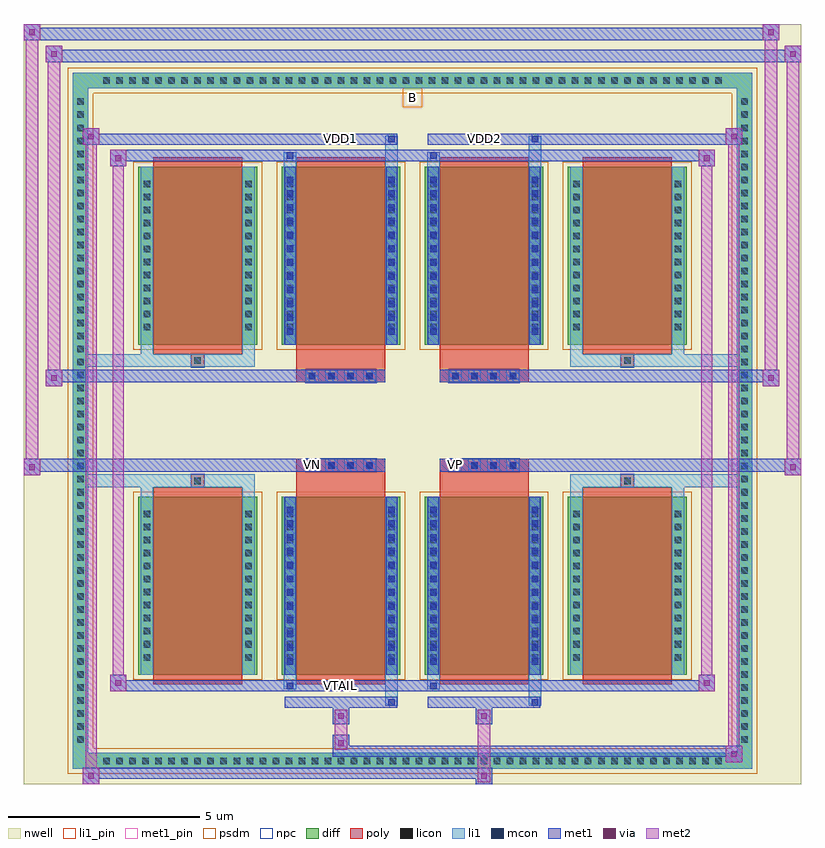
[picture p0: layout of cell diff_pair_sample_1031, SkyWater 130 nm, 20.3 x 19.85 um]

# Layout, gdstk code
import gdstk
lib = gdstk.Library(unit=1e-6, precision=5e-09)
def R(c, l, rs):  # rectangles x0, y0, x1, y1
    for r in rs: c.add(gdstk.rectangle(r[:2], r[2:], *l))
def A(c, l, x, y, w, h, nx, ny, dx, dy):  # array of equal rectangles
    R(c, l, [(x+i*dx, y+j*dy, x+i*dx+w, y+j*dy+h) for i in range(nx) for j in range(ny)])
def P(c, l, *ps):  # polygons
    for p in ps: c.add(gdstk.Polygon(p, *l))
nwell = (64, 20)
diff = (65, 20)
poly = (66, 20)
licon = (66, 44)
li1_pin = (67, 16)
li1 = (67, 20)
mcon = (67, 44)
met1_pin = (68, 16)
met1 = (68, 20)
via = (68, 44)
met2 = (69, 20)
psdm = (94, 20)
npc = (95, 20)

diff_pair_sample_1031 = lib.new_cell('diff_pair_sample_1031')
R(diff_pair_sample_1031, nwell, [(-10.15,-9.49,10.15,10.36), (-7.47,-7.68,-0.01,-0.8), (0.01,-7.68,7.47,-0.8), (-7.47,0.8,-0.01,7.68), (0.01,0.8,7.47,7.68)])
A(diff_pair_sample_1031, diff, -8.195, -9.09, 0.41, 0.41, 48, 2, 0.34, 17.77)
A(diff_pair_sample_1031, diff, -8.88, -8.535, 0.41, 0.41, 1, 50, 0, 0.34)
A(diff_pair_sample_1031, diff, 8.47, -8.535, 0.41, 0.41, 1, 50, 0, 0.34)
A(diff_pair_sample_1031, diff, -7.16, -6.635, 3.1, 4.65, 4, 2, 3.74, 8.62)
R(diff_pair_sample_1031, diff, [(-8.195,-9.09,8.195,-8.68), (-8.88,-8.535,-8.47,8.535), (8.47,-8.535,8.88,8.535), (-8.195,8.68,8.195,9.09)])
P(diff_pair_sample_1031, diff, [(8.88,9.09),(-8.88,9.09),(-8.88,-8.68),(-8.47,-8.68),(-8.47,8.68),(8.47,8.68),(8.47,-8.68),(-8.47,-8.68),(-8.88,-8.68),(-8.88,-9.09),(8.88,-9.09)])
A(diff_pair_sample_1031, poly, -6.77, -6.885, 2.32, 5.15, 4, 2, 3.74, 8.62)
A(diff_pair_sample_1031, poly, -2.785, -1.33, 0.33, 0.33, 4, 2, 0.5, 2.33)
A(diff_pair_sample_1031, poly, 0.955, -1.33, 0.33, 0.33, 4, 2, 0.5, 2.33)
R(diff_pair_sample_1031, poly, [(-5.775,-1.735,-5.445,-1.405), (-5.775,-1.735,-5.445,-1.405), (-3.03,-1.735,-0.71,-1.33), (0.71,-1.735,3.03,-1.33), (5.445,-1.735,5.775,-1.405), (5.445,-1.735,5.775,-1.405), (-3.03,-1.33,-0.71,-1), (0.71,-1.33,3.03,-1), (-3.03,1,-0.71,1.33), (0.71,1,3.03,1.33), (-3.03,1.33,-0.71,1.735), (0.71,1.33,3.03,1.735), (-5.775,1.405,-5.445,1.735), (-5.775,1.405,-5.445,1.735), (5.445,1.405,5.775,1.735), (5.445,1.405,5.775,1.735)])
A(diff_pair_sample_1031, licon, -8.075, -8.97, 0.17, 0.17, 48, 2, 0.34, 17.77)
A(diff_pair_sample_1031, licon, -8.76, -8.415, 0.17, 0.17, 1, 50, 0, 0.34)
A(diff_pair_sample_1031, licon, 8.59, -8.415, 0.17, 0.17, 1, 50, 0, 0.34)
A(diff_pair_sample_1031, licon, -7.02, -6.265, 0.17, 0.17, 1, 12, 0, 0.34)
A(diff_pair_sample_1031, licon, -4.37, -6.265, 0.17, 0.17, 1, 12, 0, 0.34)
A(diff_pair_sample_1031, licon, -3.28, -6.265, 0.17, 0.17, 1, 12, 0, 0.34)
A(diff_pair_sample_1031, licon, -0.63, -6.265, 0.17, 0.17, 1, 12, 0, 0.34)
A(diff_pair_sample_1031, licon, 0.46, -6.265, 0.17, 0.17, 1, 12, 0, 0.34)
A(diff_pair_sample_1031, licon, 3.11, -6.265, 0.17, 0.17, 1, 12, 0, 0.34)
A(diff_pair_sample_1031, licon, 4.2, -6.265, 0.17, 0.17, 1, 12, 0, 0.34)
A(diff_pair_sample_1031, licon, 6.85, -6.265, 0.17, 0.17, 1, 12, 0, 0.34)
A(diff_pair_sample_1031, licon, -2.705, -1.25, 0.17, 0.17, 4, 2, 0.5, 2.33)
A(diff_pair_sample_1031, licon, 1.035, -1.25, 0.17, 0.17, 4, 2, 0.5, 2.33)
A(diff_pair_sample_1031, licon, -7.02, 2.355, 0.17, 0.17, 1, 12, 0, 0.34)
A(diff_pair_sample_1031, licon, -4.37, 2.355, 0.17, 0.17, 1, 12, 0, 0.34)
A(diff_pair_sample_1031, licon, -3.28, 2.355, 0.17, 0.17, 1, 12, 0, 0.34)
A(diff_pair_sample_1031, licon, -0.63, 2.355, 0.17, 0.17, 1, 12, 0, 0.34)
A(diff_pair_sample_1031, licon, 0.46, 2.355, 0.17, 0.17, 1, 12, 0, 0.34)
A(diff_pair_sample_1031, licon, 3.11, 2.355, 0.17, 0.17, 1, 12, 0, 0.34)
A(diff_pair_sample_1031, licon, 4.2, 2.355, 0.17, 0.17, 1, 12, 0, 0.34)
A(diff_pair_sample_1031, licon, 6.85, 2.355, 0.17, 0.17, 1, 12, 0, 0.34)
R(diff_pair_sample_1031, licon, [(-5.695,-1.655,-5.525,-1.485), (5.525,-1.655,5.695,-1.485), (-5.695,1.485,-5.525,1.655), (5.525,1.485,5.695,1.655)])
R(diff_pair_sample_1031, li1_pin, [(-0.25,8.18,0.25,8.68)])
A(diff_pair_sample_1031, li1, -8.155, -9.05, 0.33, 0.33, 48, 2, 0.34, 17.77)
A(diff_pair_sample_1031, li1, -8.84, -8.495, 0.33, 0.33, 1, 50, 0, 0.34)
A(diff_pair_sample_1031, li1, 8.51, -8.495, 0.33, 0.33, 1, 50, 0, 0.34)
A(diff_pair_sample_1031, li1, -3.28, -6.375, 0.17, 0.17, 1, 12, 0, 0.36)
A(diff_pair_sample_1031, li1, -0.63, -6.375, 0.17, 0.17, 1, 12, 0, 0.36)
A(diff_pair_sample_1031, li1, 0.46, -6.375, 0.17, 0.17, 1, 12, 0, 0.36)
A(diff_pair_sample_1031, li1, 3.11, -6.375, 0.17, 0.17, 1, 12, 0, 0.36)
A(diff_pair_sample_1031, li1, -7.1, -6.345, 0.33, 0.33, 1, 12, 0, 0.34)
A(diff_pair_sample_1031, li1, -4.45, -6.345, 0.33, 0.33, 1, 12, 0, 0.34)
A(diff_pair_sample_1031, li1, -3.36, -6.345, 0.33, 0.33, 1, 12, 0, 0.34)
A(diff_pair_sample_1031, li1, -0.71, -6.345, 0.33, 0.33, 1, 12, 0, 0.34)
A(diff_pair_sample_1031, li1, 0.38, -6.345, 0.33, 0.33, 1, 12, 0, 0.34)
A(diff_pair_sample_1031, li1, 3.03, -6.345, 0.33, 0.33, 1, 12, 0, 0.34)
A(diff_pair_sample_1031, li1, 4.12, -6.345, 0.33, 0.33, 1, 12, 0, 0.34)
A(diff_pair_sample_1031, li1, 6.77, -6.345, 0.33, 0.33, 1, 12, 0, 0.34)
A(diff_pair_sample_1031, li1, -2.785, -1.33, 0.33, 0.33, 4, 2, 0.5, 2.33)
A(diff_pair_sample_1031, li1, 0.955, -1.33, 0.33, 0.33, 4, 2, 0.5, 2.33)
A(diff_pair_sample_1031, li1, -3.28, 2.245, 0.17, 0.17, 1, 12, 0, 0.36)
A(diff_pair_sample_1031, li1, -0.63, 2.245, 0.17, 0.17, 1, 12, 0, 0.36)
A(diff_pair_sample_1031, li1, 0.46, 2.245, 0.17, 0.17, 1, 12, 0, 0.36)
A(diff_pair_sample_1031, li1, 3.11, 2.245, 0.17, 0.17, 1, 12, 0, 0.36)
A(diff_pair_sample_1031, li1, -7.1, 2.275, 0.33, 0.33, 1, 12, 0, 0.34)
A(diff_pair_sample_1031, li1, -4.45, 2.275, 0.33, 0.33, 1, 12, 0, 0.34)
A(diff_pair_sample_1031, li1, -3.36, 2.275, 0.33, 0.33, 1, 12, 0, 0.34)
A(diff_pair_sample_1031, li1, -0.71, 2.275, 0.33, 0.33, 1, 12, 0, 0.34)
A(diff_pair_sample_1031, li1, 0.38, 2.275, 0.33, 0.33, 1, 12, 0, 0.34)
A(diff_pair_sample_1031, li1, 3.03, 2.275, 0.33, 0.33, 1, 12, 0, 0.34)
A(diff_pair_sample_1031, li1, 4.12, 2.275, 0.33, 0.33, 1, 12, 0, 0.34)
A(diff_pair_sample_1031, li1, 6.77, 2.275, 0.33, 0.33, 1, 12, 0, 0.34)
R(diff_pair_sample_1031, li1, [(-8.88,-9.09,-8.47,-8.68), (-8.88,-9.09,-8.47,-8.68), (-8.47,-9.09,8.47,-8.68), (8.47,-9.09,8.88,-8.68), (8.47,-9.09,8.88,-8.68), (-8.88,-8.68,-8.47,8.68), (8.47,-8.68,8.88,8.68), (-0.71,-7.44,-0.38,-6.635), (-0.63,-7.44,-0.46,-7.27), (3.03,-7.44,3.36,-6.635), (3.11,-7.44,3.28,-7.27), (-3.36,-7.01,-3.03,-6.635), (-3.28,-7.01,-3.11,-6.84), (0.38,-7.01,0.71,-6.635), (0.46,-7.01,0.63,-6.84), (-7.1,-6.635,-6.77,-1.985), (-4.45,-6.635,-4.12,-1.985), (-3.36,-6.635,-3.03,-1.985), (-0.71,-6.635,-0.38,-1.985), (0.38,-6.635,0.71,-1.985), (3.03,-6.635,3.36,-1.985), (4.12,-6.635,4.45,-1.985), (6.77,-6.635,7.1,-1.985), (-3.28,-6.375,-3.11,-2.245), (-0.63,-6.375,-0.46,-2.245), (0.46,-6.375,0.63,-2.245), (3.11,-6.375,3.28,-2.245), (-7.1,-1.985,-6.77,-1.405), (-4.45,-1.985,-4.12,-1.405), (4.12,-1.985,4.45,-1.405), (6.77,-1.985,7.1,-1.405), (-8.88,-1.735,-5.775,-1.405), (-7.1,-1.735,-5.775,-1.405), (-5.775,-1.735,-5.445,-1.405), (-5.445,-1.735,-4.12,-1.405), (4.12,-1.735,5.445,-1.405), (5.445,-1.735,5.775,-1.405), (5.445,-1.735,8.88,-1.405), (5.775,-1.735,7.1,-1.405), (-8.88,1.405,-5.775,1.735), (-7.1,1.405,-5.775,1.735), (-7.1,1.405,-6.77,1.985), (-5.775,1.405,-5.445,1.735), (-5.445,1.405,-4.12,1.735), (-4.45,1.405,-4.12,1.985), (4.12,1.405,5.445,1.735), (4.12,1.405,4.45,1.985), (5.445,1.405,5.775,1.735), (5.445,1.405,8.88,1.735), (5.775,1.405,7.1,1.735), (6.77,1.405,7.1,1.985), (-7.1,1.985,-6.77,6.635), (-4.45,1.985,-4.12,6.635), (-3.36,1.985,-3.03,6.635), (-0.71,1.985,-0.38,6.635), (0.38,1.985,0.71,6.635), (3.03,1.985,3.36,6.635), (4.12,1.985,4.45,6.635), (6.77,1.985,7.1,6.635), (-3.28,2.245,-3.11,6.375), (-0.63,2.245,-0.46,6.375), (0.46,2.245,0.63,6.375), (3.11,2.245,3.28,6.375), (-3.36,6.635,-3.03,7.01), (-0.71,6.635,-0.38,7.44), (0.38,6.635,0.71,7.01), (3.03,6.635,3.36,7.44), (-3.28,6.84,-3.11,7.01), (0.46,6.84,0.63,7.01), (-0.63,7.27,-0.46,7.44), (3.11,7.27,3.28,7.44), (-8.88,8.68,-8.47,9.09), (-8.88,8.68,-8.47,9.09), (-8.47,8.68,8.47,9.09), (8.47,8.68,8.88,9.09), (8.47,8.68,8.88,9.09)])
A(diff_pair_sample_1031, mcon, -3.28, -6.375, 0.17, 0.17, 1, 12, 0, 0.36)
A(diff_pair_sample_1031, mcon, -0.63, -6.375, 0.17, 0.17, 1, 12, 0, 0.36)
A(diff_pair_sample_1031, mcon, 0.46, -6.375, 0.17, 0.17, 1, 12, 0, 0.36)
A(diff_pair_sample_1031, mcon, 3.11, -6.375, 0.17, 0.17, 1, 12, 0, 0.36)
A(diff_pair_sample_1031, mcon, -2.705, -1.25, 0.17, 0.17, 4, 2, 0.5, 2.33)
A(diff_pair_sample_1031, mcon, 1.035, -1.25, 0.17, 0.17, 4, 2, 0.5, 2.33)
A(diff_pair_sample_1031, mcon, -3.28, 2.245, 0.17, 0.17, 1, 12, 0, 0.36)
A(diff_pair_sample_1031, mcon, -0.63, 2.245, 0.17, 0.17, 1, 12, 0, 0.36)
A(diff_pair_sample_1031, mcon, 0.46, 2.245, 0.17, 0.17, 1, 12, 0, 0.36)
A(diff_pair_sample_1031, mcon, 3.11, 2.245, 0.17, 0.17, 1, 12, 0, 0.36)
R(diff_pair_sample_1031, mcon, [(-0.63,-7.44,-0.46,-7.27), (3.11,-7.44,3.28,-7.27), (-3.28,-7.01,-3.11,-6.84), (0.46,-7.01,0.63,-6.84), (-3.28,6.84,-3.11,7.01), (0.46,6.84,0.63,7.01), (-0.63,7.27,-0.46,7.44), (3.11,7.27,3.28,7.44)])
R(diff_pair_sample_1031, met1_pin, [(-2.005,-7.05,-1.735,-6.78), (-2.755,-1.29,-2.485,-1.02), (0.985,-1.29,1.255,-1.02), (-2.005,7.23,-1.735,7.5), (1.735,7.23,2.005,7.5)])
A(diff_pair_sample_1031, met1, -3.34, -6.435, 0.29, 0.29, 1, 12, 0, 0.36)
A(diff_pair_sample_1031, met1, -0.69, -6.435, 0.29, 0.29, 1, 12, 0, 0.36)
A(diff_pair_sample_1031, met1, 0.4, -6.435, 0.29, 0.29, 1, 12, 0, 0.36)
A(diff_pair_sample_1031, met1, 3.05, -6.435, 0.29, 0.29, 1, 12, 0, 0.36)
A(diff_pair_sample_1031, met1, -2.765, -1.31, 0.29, 0.29, 4, 2, 0.5, 2.33)
A(diff_pair_sample_1031, met1, 0.975, -1.31, 0.29, 0.29, 4, 2, 0.5, 2.33)
A(diff_pair_sample_1031, met1, -3.34, 2.185, 0.29, 0.29, 1, 12, 0, 0.36)
A(diff_pair_sample_1031, met1, -0.69, 2.185, 0.29, 0.29, 1, 12, 0, 0.36)
A(diff_pair_sample_1031, met1, 0.4, 2.185, 0.29, 0.29, 1, 12, 0, 0.36)
A(diff_pair_sample_1031, met1, 3.05, 2.185, 0.29, 0.29, 1, 12, 0, 0.36)
R(diff_pair_sample_1031, met1, [(-8.61,-9.49,-8.18,-9.06), (1.655,-9.49,2.085,-9.06), (-8.61,-9.35,2.085,-9.06), (8.18,-8.92,8.61,-8.49), (-2.085,-8.78,8.61,-8.49), (-2.085,-8.64,-1.655,-8.21), (-2.085,-7.93,-1.655,-7.5), (1.655,-7.93,2.085,-7.5), (-3.34,-7.5,-0.4,-7.21), (-0.69,-7.5,-0.4,-7.21), (0.4,-7.5,3.34,-7.21), (3.05,-7.5,3.34,-7.21), (-7.9,-7.07,-7.47,-6.64), (-7.9,-7.07,-3.34,-6.78), (-3.34,-7.07,-3.05,-6.78), (-3.34,-7.07,-0.4,-6.78), (-0.4,-7.07,0.4,-6.78), (0.4,-7.07,0.69,-6.78), (0.4,-7.07,3.34,-6.78), (3.34,-7.07,7.9,-6.78), (7.47,-7.07,7.9,-6.64), (-3.34,-6.635,-3.05,-1.985), (-0.69,-6.635,-0.4,-1.985), (0.4,-6.635,0.69,-1.985), (3.05,-6.635,3.34,-1.985), (-10.15,-1.43,-9.72,-1), (9.72,-1.43,10.15,-1), (-10.15,-1.33,-0.71,-1), (-3.03,-1.33,-0.71,-1), (0.71,-1.33,3.03,-1), (0.71,-1.33,10.15,-1), (-9.58,0.9,-9.15,1.33), (9.15,0.9,9.58,1.33), (-9.58,1,-3.03,1.33), (-3.03,1,-0.71,1.33), (0.71,1,3.03,1.33), (3.03,1,9.58,1.33), (-3.34,1.985,-3.05,6.635), (-0.69,1.985,-0.4,6.635), (0.4,1.985,0.69,6.635), (3.05,1.985,3.34,6.635), (-7.9,6.64,-7.47,7.07), (7.47,6.64,7.9,7.07), (-7.9,6.78,-3.34,7.07), (-3.34,6.78,-3.05,7.07), (-3.34,6.78,-0.4,7.07), (-0.4,6.78,0.4,7.07), (0.4,6.78,0.69,7.07), (0.4,6.78,3.34,7.07), (3.34,6.78,7.9,7.07), (-8.61,7.21,-8.18,7.64), (-8.61,7.21,-3.34,7.5), (-3.34,7.21,-0.4,7.5), (-0.69,7.21,-0.4,7.5), (0.4,7.21,3.34,7.5), (3.05,7.21,3.34,7.5), (3.34,7.21,8.61,7.5), (8.18,7.21,8.61,7.64), (-9.58,9.36,-9.15,9.79), (-9.58,9.36,-7.47,9.69), (-7.47,9.36,7.47,9.69), (7.47,9.36,10.15,9.69), (9.72,9.36,10.15,9.79), (-10.15,9.93,-9.72,10.36), (-10.15,9.93,-7.47,10.26), (-7.47,9.93,7.47,10.26), (7.47,9.93,9.58,10.26), (9.15,9.93,9.58,10.36)])
R(diff_pair_sample_1031, via, [(-8.47,-9.35,-8.32,-9.2), (1.795,-9.35,1.945,-9.2), (8.32,-8.78,8.47,-8.63), (-1.945,-8.5,-1.795,-8.35), (-1.945,-7.79,-1.795,-7.64), (1.795,-7.79,1.945,-7.64), (-7.76,-6.93,-7.61,-6.78), (7.61,-6.93,7.76,-6.78), (-10.01,-1.29,-9.86,-1.14), (9.86,-1.29,10.01,-1.14), (-9.44,1.04,-9.29,1.19), (9.29,1.04,9.44,1.19), (-7.76,6.78,-7.61,6.93), (7.61,6.78,7.76,6.93), (-8.47,7.35,-8.32,7.5), (8.32,7.35,8.47,7.5), (-9.44,9.5,-9.29,9.65), (9.86,9.5,10.01,9.65), (-10.01,10.07,-9.86,10.22), (9.29,10.07,9.44,10.22)])
R(diff_pair_sample_1031, met2, [(-8.61,-9.49,-8.18,-9.06), (-8.54,-9.49,-8.25,7.64), (-8.25,-9.49,-8.18,-9.06), (-8.56,-9.44,-8.23,-9.11), (1.705,-9.44,2.035,-9.11), (1.705,-9.11,2.035,-7.88), (8.18,-8.92,8.61,-8.49), (8.25,-8.92,8.54,7.64), (8.54,-8.92,8.61,-8.49), (8.23,-8.87,8.56,-8.54), (-2.035,-8.59,-1.705,-8.26), (-2.035,-8.26,-1.705,-7.88), (-2.035,-7.88,-1.705,-7.55), (1.705,-7.88,2.035,-7.55), (-7.9,-7.07,-7.47,-6.64), (-7.83,-7.07,-7.54,7.07), (-7.54,-7.07,-7.47,-6.64), (7.47,-7.07,7.9,-6.64), (7.54,-7.07,7.83,7.07), (7.83,-7.07,7.9,-6.64), (-7.85,-7.02,-7.52,-6.69), (7.52,-7.02,7.85,-6.69), (-10.15,-1.43,-9.72,-1), (-10.1,-1.43,-9.77,10.36), (-9.77,-1.43,-9.72,-1), (9.72,-1.43,10.15,-1), (9.77,-1.43,10.1,9.79), (10.1,-1.43,10.15,-1), (-10.1,-1.38,-9.77,-1.05), (9.77,-1.38,10.1,-1.05), (-9.58,0.9,-9.15,1.33), (-9.53,0.9,-9.2,9.79), (-9.2,0.9,-9.15,1.33), (9.15,0.9,9.58,1.33), (9.2,0.9,9.53,10.36), (9.53,0.9,9.58,1.33), (-9.53,0.95,-9.2,1.28), (9.2,0.95,9.53,1.28), (-7.9,6.64,-7.47,7.07), (-7.54,6.64,-7.47,7.07), (7.47,6.64,7.9,7.07), (7.83,6.64,7.9,7.07), (-7.85,6.69,-7.52,7.02), (7.52,6.69,7.85,7.02), (-8.61,7.21,-8.18,7.64), (-8.25,7.21,-8.18,7.64), (8.18,7.21,8.61,7.64), (8.54,7.21,8.61,7.64), (-8.56,7.26,-8.23,7.59), (8.23,7.26,8.56,7.59), (-9.58,9.36,-9.15,9.79), (-9.2,9.36,-9.15,9.79), (9.72,9.36,10.15,9.79), (10.1,9.36,10.15,9.79), (-9.53,9.41,-9.2,9.74), (9.77,9.41,10.1,9.74), (-10.15,9.93,-9.72,10.36), (-9.77,9.93,-9.72,10.36), (9.15,9.93,9.58,10.36), (9.53,9.93,9.58,10.36), (-10.1,9.98,-9.77,10.31), (9.2,9.98,9.53,10.31)])
A(diff_pair_sample_1031, psdm, -7.29, -6.765, 3.36, 4.91, 4, 2, 3.74, 8.62)
P(diff_pair_sample_1031, psdm, [(9.01,9.22),(-9.01,9.22),(-9.01,-8.55),(-8.34,-8.55),(-8.34,8.55),(8.34,8.55),(8.34,-8.55),(-8.34,-8.55),(-9.01,-8.55),(-9.01,-9.22),(9.01,-9.22)])
A(diff_pair_sample_1031, npc, -2.805, -1.35, 0.37, 0.37, 4, 2, 0.5, 2.33)
A(diff_pair_sample_1031, npc, 0.935, -1.35, 0.37, 0.37, 4, 2, 0.5, 2.33)
R(diff_pair_sample_1031, npc, [(-5.795,-1.755,-5.425,-1.385), (5.425,-1.755,5.795,-1.385), (-2.805,-1.35,-1.935,-0.98), (-2.805,-1.35,-1.935,-0.98), (-2.305,-1.35,-1.435,-0.98), (-2.305,-1.35,-1.435,-0.98), (-1.805,-1.35,-0.935,-0.98), (-1.805,-1.35,-0.935,-0.98), (0.935,-1.35,1.805,-0.98), (0.935,-1.35,1.805,-0.98), (1.435,-1.35,2.305,-0.98), (1.435,-1.35,2.305,-0.98), (1.935,-1.35,2.805,-0.98), (1.935,-1.35,2.805,-0.98), (-2.805,0.98,-1.935,1.35), (-2.805,0.98,-1.935,1.35), (-2.305,0.98,-1.435,1.35), (-2.305,0.98,-1.435,1.35), (-1.805,0.98,-0.935,1.35), (-1.805,0.98,-0.935,1.35), (0.935,0.98,1.805,1.35), (0.935,0.98,1.805,1.35), (1.435,0.98,2.305,1.35), (1.435,0.98,2.305,1.35), (1.935,0.98,2.805,1.35), (1.935,0.98,2.805,1.35), (-5.795,1.385,-5.425,1.755), (5.425,1.385,5.795,1.755)])
diff_pair_sample_1031.add(gdstk.Label('VTAIL', (-1.87,-6.915), layer=68, texttype=5))
diff_pair_sample_1031.add(gdstk.Label('VN', (-2.62,-1.155), layer=68, texttype=5))
diff_pair_sample_1031.add(gdstk.Label('VP', (1.12,-1.155), layer=68, texttype=5))
diff_pair_sample_1031.add(gdstk.Label('B', (0,8.43), layer=67, texttype=5))
diff_pair_sample_1031.add(gdstk.Label('VDD2', (1.87,7.365), layer=68, texttype=5))
diff_pair_sample_1031.add(gdstk.Label('VDD1', (-1.87,7.365), layer=68, texttype=5))

lib.write_gds('diff_pair_sample_1031.gds')
